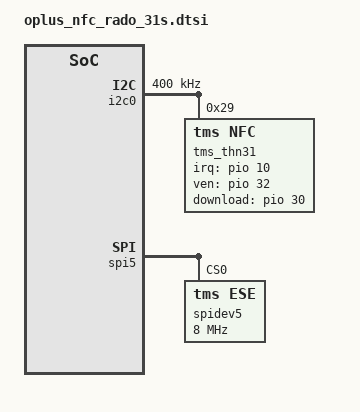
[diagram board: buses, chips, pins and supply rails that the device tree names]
/**********************************************************************************
* Copyright (c)  2008-2020  Guangdong oplus Mobile Comm Corp., Ltd
*
***********************************************************************************/
&odm {
        nfc_chipset:nfc_chipset {
                compatible = "oplus-nfc-chipset";
                chipset-24609 = "THN31";
                chipset-24617 = "THN31";
                //manifest = "/odm/etc/vintf/manifest_nfc_thn31.xml";
        };
};

&i2c0 {
       status = "okay";
       clock-frequency = <400000>;

       tms_thn31@29 {
               compatible = "tms,nfc";
               reg = <0x29>;
               tms,irq-gpio = <&pio 10 0x0>;
               tms,ven-gpio = <&pio 32 0x0>;
               tms,download-gpio = <&pio 30 0x0>;
               interrupt-parent = <&pio>;
       };
};

&spi5 {
       status = "okay";
       #address-cells = <1>;
       #size-cells = <0>;
       spidev5: ese@5 {
       compatible = "tms,ese";
       reg = <0>;
       spi-max-frequency = <8000000>;
       tms,device-name    = "tms_ese";
       tms,device-count   = <1>;
       };
};
